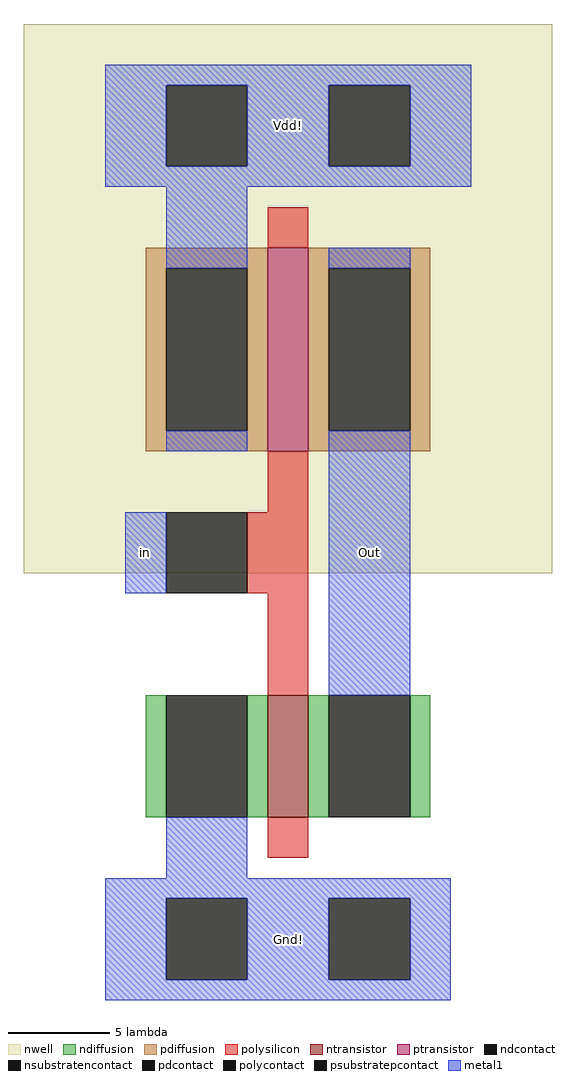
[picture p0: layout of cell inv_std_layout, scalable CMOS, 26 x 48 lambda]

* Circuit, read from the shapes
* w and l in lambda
.subckt inv_std_layout Gnd! Out Vdd! in
M1 Out in Gnd! Gnd! nfet w=6 l=2
M2 Out in Vdd! Vdd! pfet w=10 l=2
.ends

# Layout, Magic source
magic
tech scmos
<< nwell >>
rect -9 -3 17 24
<< ntransistor >>
rect 3 -15 5 -9
<< ptransistor >>
rect 3 3 5 13
<< ndiffusion >>
rect -3 -15 -2 -9
rect 2 -15 3 -9
rect 5 -15 6 -9
rect 10 -15 11 -9
<< pdiffusion >>
rect -3 12 3 13
rect -3 4 -2 12
rect 2 4 3 12
rect -3 3 3 4
rect 5 12 11 13
rect 5 4 6 12
rect 10 4 11 12
rect 5 3 11 4
<< ndcontact >>
rect -2 -15 2 -9
rect 6 -15 10 -9
<< pdcontact >>
rect -2 4 2 12
rect 6 4 10 12
<< psubstratepcontact >>
rect -2 -23 2 -19
rect 6 -23 10 -19
<< nsubstratencontact >>
rect -2 17 2 21
rect 6 17 10 21
<< polysilicon >>
rect 3 13 5 15
rect 3 0 5 3
rect 2 -4 5 0
rect 3 -9 5 -4
rect 3 -17 5 -15
<< polycontact >>
rect -2 -4 2 0
<< metal1 >>
rect -5 21 13 22
rect -5 17 -2 21
rect 2 17 6 21
rect 10 17 13 21
rect -5 16 13 17
rect -2 12 2 16
rect -2 3 2 4
rect 6 12 10 13
rect -4 -4 -2 0
rect 6 -9 10 4
rect -2 -18 2 -15
rect -5 -19 12 -18
rect -5 -23 -2 -19
rect 2 -23 6 -19
rect 10 -23 12 -19
rect -5 -24 12 -23
<< labels >>
rlabel metal1 4 19 4 19 5 Vdd!
rlabel metal1 4 -21 4 -21 1 Gnd!
rlabel metal1 -3 -2 -3 -2 1 in
rlabel metal1 8 -2 8 -2 1 Out
<< end >>
